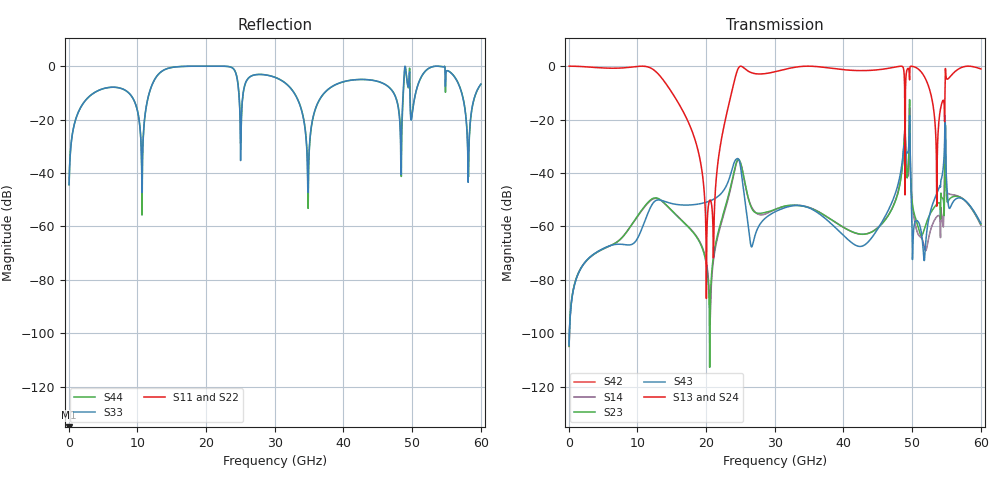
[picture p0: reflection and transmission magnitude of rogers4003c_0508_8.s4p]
! TOUCHSTONE file generated by CST MICROWAVE STUDIO
! Date and time: Wed Apr 16 11:32:54 2025
! Project name: LOSSLESS_rogers4003c_air_gapped_wideband_balanced.cst
! Parameters = {h=4.5; lambda=10; period=5; phi=0; theta=0; thickness=0.508; w_mesh_1=2; w_mesh_2=2; w_patch_1=1.6; w_patch_2=1.6}
! Header version: 2018
! Port assignment regex: !\s*Touchstone port\s*([0-9]+)\s*=\s*(CST MWS port|CST DS port)\s*([0-9]+|Zmin|Zmax)\s*\(\"(.*)\"\)(\s*mode\s*([0-9]+))?.*
! Touchstone port assignment:
! Touchstone port 1 = CST MWS port Zmin ("") mode 1
! Touchstone port 2 = CST MWS port Zmin ("") mode 2
! Touchstone port 3 = CST MWS port Zmax ("") mode 1
! Touchstone port 4 = CST MWS port Zmax ("") mode 2
! S-Parameters are not renormalized. Unphysical impedance of 50 will be written to the file.
# GHz S RI R 50
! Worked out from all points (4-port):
!   1003 points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, 60 MHz to 60 GHz, reference per port
!   strongest paths, dB at 60 MHz, 15 GHz, 30 GHz, 45 GHz, 60 GHz:
!     S13: 0.0, -9.8, -2.1, -1.4, -1.0
!     S24: 0.0, -9.7, -2.1, -1.4, -1.0
!     S43: -104.5, -51.4, -54.6, -60.9, -58.9
!     S23: -104.9, -54.1, -53.7, -60.6, -59.2
!     S14: -105.0, -54.0, -53.7, -60.4, -59.6
!     S42: -, -, -, -, -
!   lowest |S11| = - dB at 60 MHz (marker M1), VSWR 1.00
!   |S11| at or under -10 dB: start of sweep to end of sweep
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0.06  0 0  0 0  1 -0.00604  -2.38e-07 -5.65e-06
      0 0  0 0  -2.96e-07 -5.67e-06  1 -0.00604
      0 0  0 0  -2.41e-05 -0.00604  1.22e-07 -6.03e-06
      0 0  0 0  3.27e-07 -5.92e-06  -2.4e-05 -0.00604
13.26  0 0  0 0  -0.2981 -0.5919  -0.00124 0.00292
       0 0  0 0  -0.00122 0.00297  -0.2974 -0.5935
       0 0  0 0  0.6666 -0.3413  0.000335 -0.00317
       0 0  0 0  0.000285 -0.00311  0.6691 -0.3339
20.1  0 0  0 0  0.000549 0.000254  0.000176 7.8e-05
      0 0  0 0  0.000158 6.55e-05  0.000437 0.0002
      0 0  0 0  0.3767 -0.9263  -0.00264 -0.00109
      0 0  0 0  -0.00264 -0.00109  0.3856 -0.9226
24.96  0 0  0 0  -0.2664 0.9601  0.015 0.00587
       0 0  0 0  0.0151 0.00567  -0.2789 0.9552
       0 0  0 0  -0.0815 -0.0141  0.012 0.00862
       0 0  0 0  0.0117 0.00811  -0.0823 -0.0512
26.7  0 0  0 0  0.4529 0.5942  0.00181 -0.00127
      0 0  0 0  0.00177 -0.00115  0.4513 0.5952
      0 0  0 0  0.5301 -0.4011  -0.000237 -0.000295
      0 0  0 0  -0.000266 -0.00033  0.5245 -0.4087
49.38  0 0  0 0  0.5524 -0.7188  -0.000414 -0.00873
       0 0  0 0  -0.0098 0.0031  0.5704 -0.7085
       0 0  0 0  0.3451 0.2413  -0.0128 0.0206
       0 0  0 0  -0.0126 0.0206  0.3247 0.2581
60  0 0  0 0  0.4087 -0.7877  0.00105 -4.57e-06
    0 0  0 0  0.00109 -1.46e-05  0.4106 -0.7878
    0 0  0 0  -0.4086 -0.213  0.00109 -5.85e-05
    0 0  0 0  0.00114 -7.98e-06  -0.4066 -0.2133
